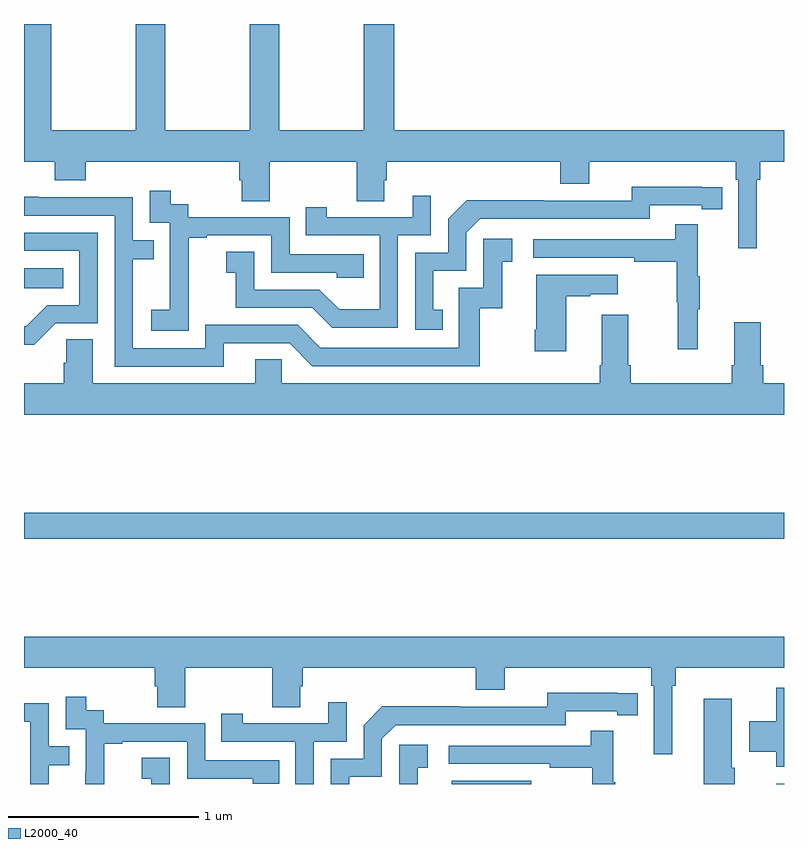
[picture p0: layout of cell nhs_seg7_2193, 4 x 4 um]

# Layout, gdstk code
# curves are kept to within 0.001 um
import gdstk
lib = gdstk.Library(unit=1e-6, precision=1e-09)
def R(c, l, rs):  # rectangles x0, y0, x1, y1
    for r in rs: c.add(gdstk.rectangle(r[:2], r[2:], *l))
def P(c, l, *ps):  # polygons
    for p in ps: c.add(gdstk.Polygon(p, *l))
L2000_40 = (2000, 40)

nhs_seg7_2193 = lib.new_cell('nhs_seg7_2193')
R(nhs_seg7_2193, L2000_40, [(257.252,1004,257.671,1004.017), (258.959,1004,259,1004.002), (255,1005.292,259,1005.428), (255,1006.61,255.206,1006.714)])
P(nhs_seg7_2193, L2000_40, [(258.856,1007.18),(258.875,1007.18),(258.875,1007.276),(259,1007.276),(259,1007.44),(256.949,1007.44),(256.949,1008),(256.789,1008),(256.789,1007.44),(256.344,1007.44),(256.344,1008),(256.189,1008),(256.189,1007.44),(255.744,1007.44),(255.744,1008),(255.589,1008),(255.589,1007.44),(255.144,1007.44),(255.144,1008),(255,1008),(255,1007.276),(255.161,1007.276),(255.161,1007.177),(255.326,1007.177),(255.326,1007.276),(256.133,1007.276),(256.133,1007.178),(256.145,1007.178),(256.145,1007.068),(256.293,1007.068),(256.293,1007.276),(256.75,1007.276),(256.75,1007.068),(256.897,1007.068),(256.897,1007.178),(256.91,1007.178),(256.91,1007.276),(257.822,1007.276),(257.822,1007.159),(257.974,1007.159),(257.974,1007.276),(258.746,1007.276),(258.746,1007.18),(258.759,1007.18),(258.759,1006.821),(258.856,1006.821)],
  [(257.204,1006.497),(257.155,1006.497),(257.155,1006.701),(257.328,1006.701),(257.328,1006.902),(257.4,1006.974),(258.294,1006.974),(258.294,1007.046),(258.566,1007.046),(258.566,1007.026),(258.674,1007.026),(258.674,1007.142),(258.198,1007.143),(258.198,1007.07),(257.738,1007.07),(257.738,1007.072),(257.33,1007.072),(257.232,1006.974),(257.232,1006.797),(257.058,1006.797),(257.058,1006.392),(257.204,1006.392)],
  [(255.867,1006.591),(255.866,1006.591),(255.866,1006.875),(255.961,1006.875),(255.961,1006.887),(256.302,1006.887),(256.302,1006.692),(256.647,1006.692),(256.647,1006.665),(256.787,1006.665),(256.787,1006.788),(256.398,1006.788),(256.398,1006.983),(255.864,1006.983),(255.864,1007.052),(255.772,1007.052),(255.772,1007.122),(255.663,1007.122),(255.663,1006.953),(255.768,1006.953),(255.768,1006.724),(255.767,1006.724),(255.767,1006.495),(255.669,1006.495),(255.669,1006.385),(255.867,1006.385)],
  [(256.968,1006.887),(257.142,1006.887),(257.142,1007.095),(257.045,1007.095),(257.045,1006.983),(256.594,1006.983),(256.594,1007.035),(256.483,1007.035),(256.483,1006.887),(256.872,1006.887),(256.872,1006.498),(256.658,1006.498),(256.554,1006.602),(256.212,1006.602),(256.212,1006.801),(256.065,1006.801),(256.065,1006.691),(256.114,1006.691),(256.114,1006.506),(256.517,1006.506),(256.622,1006.401),(256.968,1006.401)],
  [(256.051,1006.32),(256.398,1006.32),(256.518,1006.2),(257.398,1006.2),(257.398,1006.503),(257.516,1006.503),(257.516,1006.749),(257.569,1006.749),(257.569,1006.87),(257.418,1006.87),(257.418,1006.611),(257.289,1006.611),(257.289,1006.296),(256.56,1006.296),(256.44,1006.416),(255.954,1006.416),(255.954,1006.293),(255.573,1006.293),(255.573,1006.762),(255.683,1006.762),(255.683,1006.863),(255.573,1006.863),(255.573,1007.088),(255.077,1007.088),(255.077,1007.09),(255,1007.09),(255,1006.992),(255.477,1006.992),(255.477,1006.197),(256.051,1006.197)],
  [(258.545,1006.499),(258.556,1006.499),(258.556,1006.673),(258.545,1006.673),(258.545,1006.945),(258.427,1006.945),(258.427,1006.866),(257.679,1006.866),(257.679,1006.77),(258.211,1006.77),(258.211,1006.75),(258.435,1006.75),(258.435,1006.536),(258.442,1006.536),(258.442,1006.287),(258.545,1006.287)],
  [(255.168,1006.425),(255.387,1006.425),(255.387,1006.902),(255,1006.902),(255,1006.806),(255.291,1006.806),(255.291,1006.521),(255.122,1006.521),(255.011,1006.41),(255,1006.41),(255,1006.313),(255.055,1006.313)],
  [(257.854,1006.567),(257.981,1006.567),(257.981,1006.577),(258.124,1006.577),(258.124,1006.681),(257.696,1006.681),(257.696,1006.39),(257.689,1006.39),(257.689,1006.278),(257.854,1006.278)],
  [(259,1006.108),(258.89,1006.108),(258.89,1006.204),(258.877,1006.204),(258.877,1006.429),(258.737,1006.429),(258.737,1006.204),(258.725,1006.204),(258.725,1006.108),(258.194,1006.108),(258.194,1006.204),(258.181,1006.204),(258.181,1006.471),(258.041,1006.471),(258.041,1006.204),(258.029,1006.204),(258.029,1006.108),(256.356,1006.108),(256.356,1006.235),(256.217,1006.235),(256.217,1006.108),(255.361,1006.108),(255.361,1006.34),(255.222,1006.34),(255.222,1006.217),(255.209,1006.217),(255.209,1006.108),(255,1006.108),(255,1005.944),(259,1005.944)],
  [(258.412,1004.516),(258.431,1004.516),(258.431,1004.612),(259,1004.612),(259,1004.776),(255,1004.776),(255,1004.612),(255.689,1004.612),(255.689,1004.514),(255.701,1004.514),(255.701,1004.404),(255.849,1004.404),(255.849,1004.612),(256.306,1004.612),(256.306,1004.404),(256.453,1004.404),(256.453,1004.514),(256.466,1004.514),(256.466,1004.612),(257.378,1004.612),(257.378,1004.495),(257.53,1004.495),(257.53,1004.612),(258.302,1004.612),(258.302,1004.516),(258.315,1004.516),(258.315,1004.157),(258.412,1004.157)],
  [(259,1004.506),(258.959,1004.506),(258.959,1004.329),(258.816,1004.329),(258.816,1004.171),(258.959,1004.171),(258.959,1004.09),(259,1004.09)],
  [(256.711,1004.037),(256.884,1004.037),(256.884,1004.238),(256.956,1004.31),(257.85,1004.31),(257.85,1004.382),(258.122,1004.382),(258.122,1004.362),(258.23,1004.362),(258.23,1004.478),(257.754,1004.479),(257.754,1004.406),(257.294,1004.406),(257.294,1004.408),(256.886,1004.408),(256.788,1004.31),(256.788,1004.133),(256.614,1004.133),(256.614,1004),(256.711,1004)],
  [(255.422,1004.211),(255.517,1004.211),(255.517,1004.223),(255.858,1004.223),(255.858,1004.028),(256.203,1004.028),(256.203,1004.001),(256.343,1004.001),(256.343,1004.124),(255.954,1004.124),(255.954,1004.319),(255.42,1004.319),(255.42,1004.388),(255.328,1004.388),(255.328,1004.458),(255.219,1004.458),(255.219,1004.289),(255.324,1004.289),(255.324,1004.06),(255.323,1004.06),(255.323,1004),(255.422,1004)],
  [(258.742,1004.085),(258.724,1004.085),(258.724,1004.449),(258.578,1004.449),(258.578,1004),(258.742,1004)],
  [(256.524,1004.223),(256.698,1004.223),(256.698,1004.431),(256.601,1004.431),(256.601,1004.319),(256.15,1004.319),(256.15,1004.371),(256.039,1004.371),(256.039,1004.223),(256.428,1004.223),(256.428,1004),(256.524,1004)],
  [(255.129,1004.098),(255.239,1004.098),(255.239,1004.199),(255.129,1004.199),(255.129,1004.424),(255,1004.424),(255,1004.328),(255.033,1004.328),(255.033,1004),(255.129,1004)],
  [(258.112,1004.009),(258.101,1004.009),(258.101,1004.281),(257.983,1004.281),(257.983,1004.202),(257.235,1004.202),(257.235,1004.106),(257.767,1004.106),(257.767,1004.086),(257.991,1004.086),(257.991,1004),(258.112,1004)],
  [(257.072,1004.085),(257.125,1004.085),(257.125,1004.206),(256.974,1004.206),(256.974,1004),(257.072,1004)],
  [(255.768,1004.137),(255.621,1004.137),(255.621,1004.027),(255.67,1004.027),(255.67,1004),(255.768,1004)])

lib.write_gds('nhs_seg7_2193.gds')
